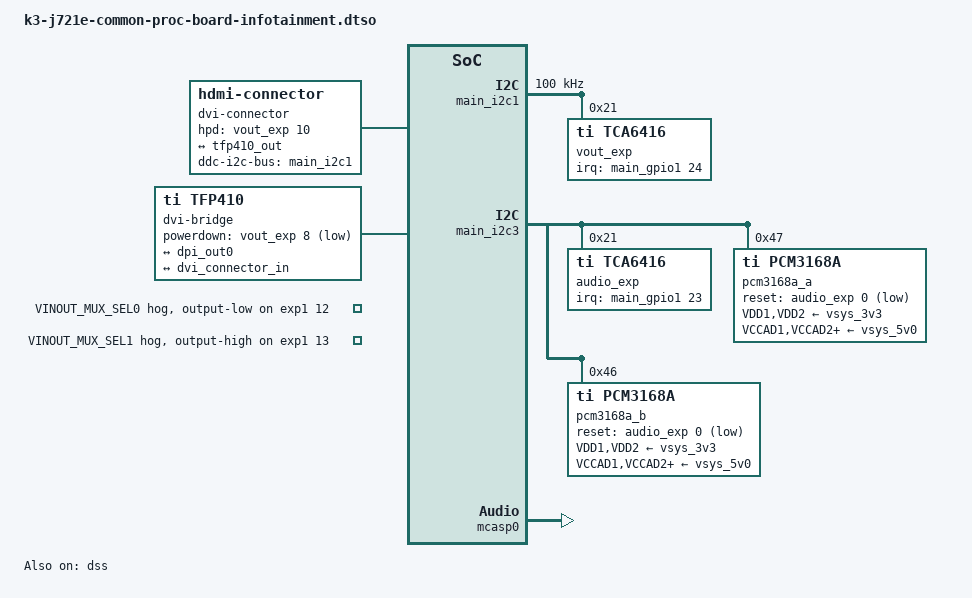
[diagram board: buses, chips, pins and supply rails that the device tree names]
// SPDX-License-Identifier: GPL-2.0
/**
 * Infotainment Expansion Board for j721e-evm
 *
 * Copyright (C) 2019 Texas Instruments Incorporated - http://www.ti.com/
 */

/dts-v1/;
/plugin/;

#include <dt-bindings/gpio/gpio.h>
#include <dt-bindings/interrupt-controller/irq.h>
#include <dt-bindings/pinctrl/k3.h>

/ {
  fragment@101 {
	target = <&sound0>;

	__overlay__ {
		compatible = "ti,j721e-cpb-ivi-multicodec-audio";
		ti,model = "j721e-cpb-ivi-multicodec-analog";

		ti,ivi-mcasp = <&mcasp0>;
		ti,ivi-codec-a = <&pcm3168a_a>;
		ti,ivi-codec-b = <&pcm3168a_b>;

		clocks = <&pll4>, <&pll15>,
			 <&k3_clks 184 1>,
			 <&k3_clks 184 2>, <&k3_clks 184 4>,
			 <&k3_clks 157 371>,
			 <&k3_clks 157 400>, <&k3_clks 157 401>,
			 <&k3_clks 174 1>,
			 <&k3_clks 174 2>, <&k3_clks 174 4>,
			 <&k3_clks 157 301>,
			 <&k3_clks 157 330>, <&k3_clks 157 331>;
		clock-names = "pll4", "pll15",
			      "cpb-mcasp",
			      "cpb-mcasp-48000", "cpb-mcasp-44100",
			      "audio-refclk2",
			      "audio-refclk2-48000", "audio-refclk2-44100",
			      "ivi-mcasp",
			      "ivi-mcasp-48000", "ivi-mcasp-44100",
			      "audio-refclk0",
			      "audio-refclk0-48000", "audio-refclk0-44100";
	};
  };

  fragment@102 {
	target-path = "/";

	__overlay__ {
		dvi-connector {
			compatible = "hdmi-connector";
			ddc-i2c-bus = <&main_i2c1>;
			digital;

			/* P12 - HDMI_HPD */
			hpd-gpios = <&vout_exp 10 GPIO_ACTIVE_HIGH>;

			port {
				dvi_connector_in: endpoint {
					remote-endpoint = <&tfp410_out>;
				};
			};
		};

		dvi-bridge {
			#address-cells = <1>;
			#size-cells = <0>;
			compatible = "ti,tfp410";

			/* P10 - HDMI_PDn */
			powerdown-gpios = <&vout_exp 8 GPIO_ACTIVE_LOW>;

			port@0 {
				reg = <0>;

				tfp410_in: endpoint {
					remote-endpoint = <&dpi_out0>;
					pclk-sample = <1>;
				};
			};

			port@1 {
				reg = <1>;

				tfp410_out: endpoint {
					remote-endpoint = <&dvi_connector_in>;
				};
			};
		};
	};
  };
};

&main_pmx0 {
	main_i2c3_audio_exp_pins_default: main_i2c3_audio_exp_pins_default {
		pinctrl-single,pins = <
			J721E_IOPAD(0x260, PIN_INPUT, 7) /* (T28) MMC2_DAT3.GPIO1_23 */
		>;
	};

	mcasp0_pins_default: mcasp0_pins_default {
		pinctrl-single,pins = <
			J721E_IOPAD(0xd4, PIN_OUTPUT_PULLDOWN, 12) /* (AB26) PRG0_PRU0_GPO9.MCASP0_ACLKX */
			J721E_IOPAD(0xd8, PIN_OUTPUT_PULLDOWN, 12) /* (AB25) PRG0_PRU0_GPO10.MCASP0_AFSX */
			J721E_IOPAD(0xb0, PIN_OUTPUT_PULLDOWN, 12) /* (AF28) PRG0_PRU0_GPO0.MCASP0_AXR0 */
			J721E_IOPAD(0xb4, PIN_OUTPUT_PULLDOWN, 12) /* (AE28) PRG0_PRU0_GPO1.MCASP0_AXR1 */
			J721E_IOPAD(0xc0, PIN_OUTPUT_PULLDOWN, 12) /* (AD25) PRG0_PRU0_GPO4.MCASP0_AXR2 */
			J721E_IOPAD(0xc4, PIN_OUTPUT_PULLDOWN, 12) /* (AC29) PRG0_PRU0_GPO5.MCASP0_AXR3 */
			J721E_IOPAD(0xc8, PIN_INPUT_PULLDOWN, 12) /* (AE26) PRG0_PRU0_GPO6.MCASP0_AXR4 */
			J721E_IOPAD(0xcc, PIN_INPUT_PULLDOWN, 12) /* (AC28) PRG0_PRU0_GPO7.MCASP0_AXR5 */
			J721E_IOPAD(0xd0, PIN_INPUT_PULLDOWN, 12) /* (AC27) PRG0_PRU0_GPO8.MCASP0_AXR6 */
			J721E_IOPAD(0xdc, PIN_OUTPUT_PULLDOWN, 12) /* (AJ28) PRG0_PRU0_GPO11.MCASP0_AXR7 */
			J721E_IOPAD(0xe0, PIN_OUTPUT_PULLDOWN, 12) /* (AH27) PRG0_PRU0_GPO12.MCASP0_AXR8 */
			J721E_IOPAD(0xe4, PIN_OUTPUT_PULLDOWN, 12) /* (AH29) PRG0_PRU0_GPO13.MCASP0_AXR9 */
			J721E_IOPAD(0xe8, PIN_OUTPUT_PULLDOWN, 12) /* (AG28) PRG0_PRU0_GPO14.MCASP0_AXR10 */
			J721E_IOPAD(0xec, PIN_INPUT_PULLDOWN, 12) /* (AG27) PRG0_PRU0_GPO15.MCASP0_AXR11 */
			J721E_IOPAD(0xf0, PIN_INPUT_PULLDOWN, 12) /* (AH28) PRG0_PRU0_GPO16.MCASP0_AXR12 */
			J721E_IOPAD(0xf4, PIN_INPUT_PULLDOWN, 12) /* (AB24) PRG0_PRU0_GPO17.MCASP0_AXR13 */
		>;
	};

	audi_ext_refclk0_pins_default: audi_ext_refclk0_pins_default {
		pinctrl-single,pins = <
			J721E_IOPAD(0x1c, PIN_OUTPUT, 6) /* (AD22) PRG1_PRU0_GPO6.AUDIO_EXT_REFCLK0 */
		>;
	};

	main_i2c1_vout_exp_pins_default: main_i2c1_vout_exp_pins_default {
		pinctrl-single,pins = <
			J721E_IOPAD(0x264, PIN_INPUT, 7) /* (T29) MMC2_DAT2.GPIO1_24 */
		>;
	};

	dss_vout0_pins_default: dss_vout0_pins_default {
		pinctrl-single,pins = <
			J721E_IOPAD(0x58, PIN_OUTPUT, 10) /* (AE22) PRG1_PRU1_GPO0.VOUT0_DATA0 */
			J721E_IOPAD(0x5c, PIN_OUTPUT, 10) /* (AG23) PRG1_PRU1_GPO1.VOUT0_DATA1 */
			J721E_IOPAD(0x60, PIN_OUTPUT, 10) /* (AF23) PRG1_PRU1_GPO2.VOUT0_DATA2 */
			J721E_IOPAD(0x64, PIN_OUTPUT, 10) /* (AD23) PRG1_PRU1_GPO3.VOUT0_DATA3 */
			J721E_IOPAD(0x68, PIN_OUTPUT, 10) /* (AH24) PRG1_PRU1_GPO4.VOUT0_DATA4 */
			J721E_IOPAD(0x6c, PIN_OUTPUT, 10) /* (AG21) PRG1_PRU1_GPO5.VOUT0_DATA5 */
			J721E_IOPAD(0x70, PIN_OUTPUT, 10) /* (AE23) PRG1_PRU1_GPO6.VOUT0_DATA6 */
			J721E_IOPAD(0x74, PIN_OUTPUT, 10) /* (AC21) PRG1_PRU1_GPO7.VOUT0_DATA7 */
			J721E_IOPAD(0x78, PIN_OUTPUT, 10) /* (Y23)  PRG1_PRU1_GPO8.VOUT0_DATA8 */
			J721E_IOPAD(0x7c, PIN_OUTPUT, 10) /* (AF21) PRG1_PRU1_GPO9.VOUT0_DATA9 */
			J721E_IOPAD(0x80, PIN_OUTPUT, 10) /* (AB23) PRG1_PRU1_GPO10.VOUT0_DATA10 */
			J721E_IOPAD(0x84, PIN_OUTPUT, 10) /* (AJ25) PRG1_PRU1_GPO11.VOUT0_DATA11 */
			J721E_IOPAD(0x88, PIN_OUTPUT, 10) /* (AH25) PRG1_PRU1_GPO12.VOUT0_DATA12 */
			J721E_IOPAD(0x8c, PIN_OUTPUT, 10) /* (AG25) PRG1_PRU1_GPO13.VOUT0_DATA13 */
			J721E_IOPAD(0x90, PIN_OUTPUT, 10) /* (AH26) PRG1_PRU1_GPO14.VOUT0_DATA14 */
			J721E_IOPAD(0x94, PIN_OUTPUT, 10) /* (AJ27) PRG1_PRU1_GPO15.VOUT0_DATA15 */
			J721E_IOPAD(0x30, PIN_OUTPUT, 10) /* (AF24) PRG1_PRU0_GPO11.VOUT0_DATA16 */
			J721E_IOPAD(0x34, PIN_OUTPUT, 10) /* (AJ24) PRG1_PRU0_GPO12.VOUT0_DATA17 */
			J721E_IOPAD(0x38, PIN_OUTPUT, 10) /* (AG24) PRG1_PRU0_GPO13.VOUT0_DATA18 */
			J721E_IOPAD(0x3c, PIN_OUTPUT, 10) /* (AD24) PRG1_PRU0_GPO14.VOUT0_DATA19 */
			J721E_IOPAD(0x40, PIN_OUTPUT, 10) /* (AC24) PRG1_PRU0_GPO15.VOUT0_DATA20 */
			J721E_IOPAD(0x44, PIN_OUTPUT, 10) /* (AE24) PRG1_PRU0_GPO16.VOUT0_DATA21 */
			J721E_IOPAD(0x24, PIN_OUTPUT, 10) /* (AJ20) PRG1_PRU0_GPO8.VOUT0_DATA22 */
			J721E_IOPAD(0x28, PIN_OUTPUT, 10) /* (AG20) PRG1_PRU0_GPO9.VOUT0_DATA23 */
			J721E_IOPAD(0x9c, PIN_OUTPUT, 10) /* (AC22) PRG1_PRU1_GPO17.VOUT0_DE */
			J721E_IOPAD(0x98, PIN_OUTPUT, 10) /* (AJ26) PRG1_PRU1_GPO16.VOUT0_HSYNC */
			J721E_IOPAD(0xa4, PIN_OUTPUT, 10) /* (AH22) PRG1_PRU1_GPO19.VOUT0_PCLK */
			J721E_IOPAD(0xa0, PIN_OUTPUT, 10) /* (AJ22) PRG1_PRU1_GPO18.VOUT0_VSYNC */
		>;
	};
};

&k3_clks {
	/* Confiure AUDIO_EXT_REFCLK2 and AUDIO_EXT_REFCLK0 pin as output */
	pinctrl-names = "default";
	pinctrl-0 = <&audi_ext_refclk2_pins_default>, <&audi_ext_refclk0_pins_default>;
};

&main_i2c1 {
	/* i2c1 is used for DVI DDC, so we need to use 100kHz */
	clock-frequency = <100000>;

	#address-cells = <1>;
	#size-cells = <0>;

	vout_exp: gpio@21 {
		compatible = "ti,tca6416";
		reg = <0x21>;
		gpio-controller;
		#gpio-cells = <2>;
		pinctrl-names = "default";
		pinctrl-0 = <&main_i2c1_vout_exp_pins_default>;
		interrupt-parent = <&main_gpio1>;
		interrupts = <24 IRQ_TYPE_EDGE_FALLING>;
		interrupt-controller;
		#interrupt-cells = <2>;
	};
};

&vout_exp {
	p11 {
		/* P11 - HDMI_DDC_OE */
		gpio-hog;
		gpios = <9 GPIO_ACTIVE_HIGH>;
		output-high;
		line-name = "HDMI_DDC_OE";
	};
};

&exp1 {
	p14 {
		/* P14 - VINOUT_MUX_SEL0 */
		gpio-hog;
		gpios = <12 GPIO_ACTIVE_HIGH>;
		output-low;
		line-name = "VINOUT_MUX_SEL0";
	};

	p15 {
		/* P15 - VINOUT_MUX_SEL1 */
		gpio-hog;
		gpios = <13 GPIO_ACTIVE_HIGH>;
		output-high;
		line-name = "VINOUT_MUX_SEL1";
	};
};

&dss {
	status = "ok";

	pinctrl-names = "default";
	pinctrl-0 = <&dss_vout0_pins_default>;
};

&dss_ports {
	#address-cells = <1>;
	#size-cells = <0>;

	port@1 {
		reg = <1>;

		dpi_out0: endpoint {
			remote-endpoint = <&tfp410_in>;
		};
	};
};

&main_i2c3 {
	#address-cells = <1>;
	#size-cells = <0>;

	audio_exp: gpio@21 {
		compatible = "ti,tca6416";
		reg = <0x21>;
		gpio-controller;
		#gpio-cells = <2>;
		pinctrl-names = "default";
		pinctrl-0 = <&main_i2c3_audio_exp_pins_default>;
		interrupt-parent = <&main_gpio1>;
		interrupts = <23 IRQ_TYPE_EDGE_FALLING>;
		interrupt-controller;
		#interrupt-cells = <2>;
	};

	pcm3168a_a: audio-codec@47 {
		compatible = "ti,pcm3168a";
		reg = <0x47>;

		#sound-dai-cells = <1>;

		reset-gpios = <&audio_exp 0 GPIO_ACTIVE_LOW>;

		/* C_AUDIO_REFCLK0 -> RGMII6_RXC (W26) */
		clocks = <&k3_clks 157 301>;
		clock-names = "scki";

		/* HSDIV3_16FFT_MAIN_4_HSDIVOUT2_CLK -> REFCLK0 */
		assigned-clocks = <&k3_clks 157 301>;
		assigned-clock-parents = <&k3_clks 157 330>;
		assigned-clock-rates = <24576000>; /* for 48KHz */

		VDD1-supply = <&vsys_3v3>;
		VDD2-supply = <&vsys_3v3>;
		VCCAD1-supply = <&vsys_5v0>;
		VCCAD2-supply = <&vsys_5v0>;
		VCCDA1-supply = <&vsys_5v0>;
		VCCDA2-supply = <&vsys_5v0>;
	};

	pcm3168a_b: audio-codec@46 {
		compatible = "ti,pcm3168a";
		reg = <0x46>;

		#sound-dai-cells = <1>;

		reset-gpios = <&audio_exp 0 GPIO_ACTIVE_LOW>;

		/* C_AUDIO_REFCLK0 -> RGMII6_RXC (W26) */
		clocks = <&k3_clks 157 301>;
		clock-names = "scki";

		/* HSDIV3_16FFT_MAIN_4_HSDIVOUT2_CLK -> REFCLK0 */
		assigned-clocks = <&k3_clks 157 301>;
		assigned-clock-parents = <&k3_clks 157 330>;
		assigned-clock-rates = <24576000>; /* for 48KHz */

		VDD1-supply = <&vsys_3v3>;
		VDD2-supply = <&vsys_3v3>;
		VCCAD1-supply = <&vsys_5v0>;
		VCCAD2-supply = <&vsys_5v0>;
		VCCDA1-supply = <&vsys_5v0>;
		VCCDA2-supply = <&vsys_5v0>;
	};
};

&mcasp0 {
	#sound-dai-cells = <0>;

	pinctrl-names = "default";
	pinctrl-0 = <&mcasp0_pins_default>;

	op-mode = <0>;		/* MCASP_IIS_MODE */
	tdm-slots = <2>;
	auxclk-fs-ratio = <256>;

	serial-dir = <	/* 0: INACTIVE, 1: TX, 2: RX */
		1 1 1 1
		2 2 2 1
		1 1 1 2
		2 2 0 0
	>;
	tx-num-evt = <0>;
	rx-num-evt = <0>;

	status = "okay";
};
